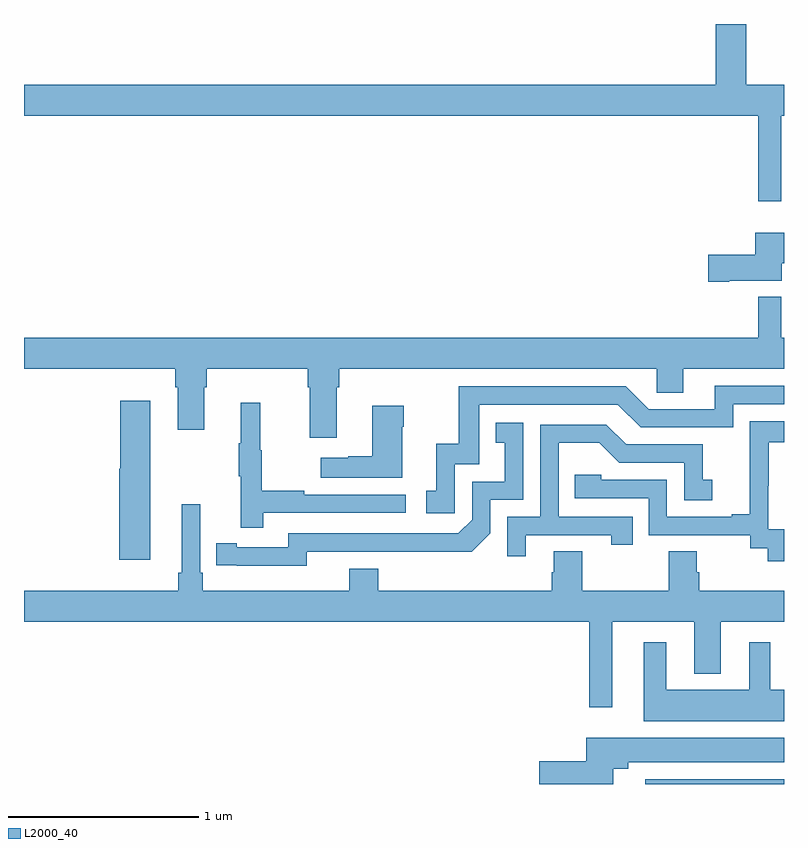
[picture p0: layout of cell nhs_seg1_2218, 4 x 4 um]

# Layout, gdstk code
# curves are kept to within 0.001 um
import gdstk
lib = gdstk.Library(unit=1e-6, precision=1e-09)
def R(c, l, rs):  # rectangles x0, y0, x1, y1
    for r in rs: c.add(gdstk.rectangle(r[:2], r[2:], *l))
def P(c, l, *ps):  # polygons
    for p in ps: c.add(gdstk.Polygon(p, *l))
L2000_40 = (2000, 40)

nhs_seg1_2218 = lib.new_cell('nhs_seg1_2218')
R(nhs_seg1_2218, L2000_40, [(234.269,564.199,235,564.225)])
P(nhs_seg1_2218, L2000_40, [(234.985,567.716),(235,567.716),(235,567.88),(234.801,567.88),(234.801,568.199),(234.641,568.199),(234.641,567.88),(231,567.88),(231,567.716),(234.864,567.716),(234.864,567.267),(234.985,567.267)],
  [(234.712,566.849),(234.988,566.849),(234.988,566.939),(235,566.939),(235,567.1),(234.848,567.1),(234.848,566.984),(234.6,566.984),(234.6,566.842),(234.712,566.842)],
  [(232.645,566.288),(232.658,566.288),(232.658,566.384),(234.33,566.384),(234.33,566.257),(234.469,566.257),(234.469,566.384),(235,566.384),(235,566.548),(234.985,566.548),(234.985,566.764),(234.864,566.764),(234.864,566.548),(231,566.548),(231,566.384),(231.797,566.384),(231.797,566.288),(231.809,566.288),(231.809,566.064),(231.949,566.064),(231.949,566.288),(231.962,566.288),(231.962,566.384),(232.493,566.384),(232.493,566.288),(232.505,566.288),(232.505,566.022),(232.645,566.022)],
  [(233.268,565.881),(233.397,565.881),(233.397,566.196),(234.126,566.196),(234.246,566.076),(234.732,566.076),(234.732,566.199),(235,566.199),(235,566.295),(234.635,566.295),(234.635,566.172),(234.288,566.172),(234.168,566.292),(233.289,566.292),(233.289,565.99),(233.171,565.99),(233.171,565.743),(233.118,565.743),(233.118,565.623),(233.268,565.623)],
  [(231.664,566.215),(231.506,566.215),(231.506,565.857),(231.5,565.857),(231.5,565.38),(231.664,565.38)],
  [(232.259,565.626),(233.008,565.626),(233.008,565.722),(232.475,565.722),(232.475,565.742),(232.252,565.742),(232.252,565.956),(232.244,565.956),(232.244,566.206),(232.142,566.206),(232.142,565.993),(232.131,565.993),(232.131,565.819),(232.142,565.819),(232.142,565.548),(232.259,565.548)],
  [(232.99,566.078),(232.998,566.078),(232.998,566.191),(232.832,566.191),(232.832,565.925),(232.706,565.925),(232.706,565.915),(232.563,565.915),(232.563,565.811),(232.99,565.811)],
  [(235,565.539),(234.918,565.539),(234.918,565.769),(234.92,565.769),(234.92,565.997),(235,565.997),(235,566.107),(234.82,566.107),(234.82,565.901),(234.821,565.901),(234.821,565.618),(234.725,565.618),(234.725,565.605),(234.384,565.605),(234.384,565.8),(234.039,565.8),(234.039,565.827),(233.899,565.827),(233.899,565.704),(234.288,565.704),(234.288,565.509),(234.822,565.509),(234.822,565.441),(234.915,565.441),(234.915,565.371),(235,565.371)],
  [(232.488,565.422),(233.356,565.421),(233.454,565.518),(233.454,565.695),(233.628,565.695),(233.628,566.101),(233.482,566.101),(233.482,565.995),(233.531,565.995),(233.531,565.791),(233.358,565.791),(233.358,565.59),(233.286,565.518),(232.392,565.518),(232.392,565.446),(232.12,565.446),(232.12,565.466),(232.012,565.466),(232.012,565.35),(232.488,565.349)],
  [(233.641,565.509),(234.092,565.509),(234.092,565.458),(234.203,565.458),(234.203,565.605),(233.814,565.605),(233.814,565.994),(234.028,565.994),(234.132,565.89),(234.474,565.89),(234.474,565.692),(234.622,565.692),(234.622,565.801),(234.573,565.801),(234.573,565.986),(234.169,565.986),(234.064,566.091),(233.718,566.091),(233.718,565.605),(233.544,565.605),(233.544,565.398),(233.641,565.398)],
  [(234.554,565.314),(234.541,565.314),(234.541,565.424),(234.394,565.424),(234.394,565.216),(233.937,565.216),(233.937,565.424),(233.789,565.424),(233.789,565.314),(233.777,565.314),(233.777,565.216),(232.865,565.216),(232.865,565.333),(232.712,565.333),(232.712,565.216),(231.941,565.216),(231.941,565.312),(231.927,565.312),(231.927,565.672),(231.83,565.672),(231.83,565.312),(231.811,565.312),(231.811,565.216),(231,565.216),(231,565.052),(233.976,565.052),(233.976,564.603),(234.097,564.603),(234.097,565.052),(234.527,565.052),(234.527,564.779),(234.667,564.779),(234.667,565.052),(235,565.052),(235,565.216),(234.554,565.216)],
  [(235,564.694),(234.928,564.694),(234.928,564.946),(234.818,564.946),(234.818,564.694),(234.379,564.694),(234.379,564.946),(234.263,564.946),(234.263,564.53),(235,564.53)],
  [(234.1,564.278),(234.181,564.278),(234.181,564.314),(235,564.314),(235,564.442),(233.96,564.442),(233.96,564.32),(233.712,564.32),(233.712,564.199),(234.1,564.199)])

lib.write_gds('nhs_seg1_2218.gds')
